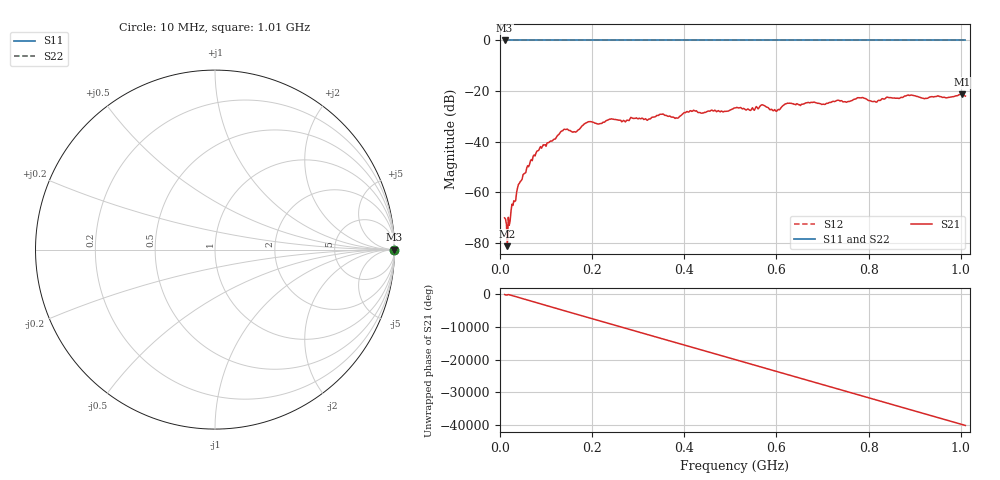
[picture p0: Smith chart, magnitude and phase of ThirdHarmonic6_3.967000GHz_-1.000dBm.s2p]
! 8/17/2025 2:06:03 PM
! C:\ANRITSUVNA\TEMP\TEMP.S2P
! CHANNEL.1
! TR.MEASUREMENT
! RAW.DATA
! RF.CORRECTION.OFF
! AVERAGING.OFF
! IF.BANDWIDTH: 5KHZ
! SWEEPTYPE:  FREQ.SWEEP(Linear)
! Reference Plane Port Info
! PORT:  PORT1  PORT2
! DISTANCE:  0  m  0  m
! TIME:  0  s  0  s
! PHASE.OFFSET:  0  deg.  0  deg.
! LOSS:  0  dB  0  dB
! REF.LOSS:  0  dB  0  dB
! REF.FREQ:  0  Hz  0  Hz
! Power Info
! POWER:  -20  dBm  -20  dBm
! EFF.POWER:  -20  dBm  -20  dBm
! SOURCE.ATTEN:  0  dB  0  dB
! TEST.ATTEN:  0  dB  0  dB
# GHZ S RI R 50.0
! FREQ.GHZ  S11RE  S11IM  S21RE  S21IM  S12RE  S12IM  S22RE  S22IM
!; PortSelection: Port_12
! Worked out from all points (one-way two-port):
!   501 points, 10 MHz to 1.01 GHz, reference 50 ohm
!   highest |S21| = -21.23 dB at 1.002 GHz (marker M1); lowest = -81.3 dB at 16 MHz (marker M2)
!   lowest |S11| = 0.0 dB at 10 MHz (marker M3)
!   |S11| at or under -10 dB: nowhere
!   |S22| runs from 0.0 to 0.0 dB; largest |S21 - S12| = 1.1
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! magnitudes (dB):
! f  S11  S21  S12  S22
! 10 MHz  0.0  -70.1  0.0  0.0
! 16 MHz  0.0  -81.3  0.0  0.0
! 20 MHz  0.0  -73.0  0.0  0.0
! 22 MHz  0.0  -71.2  0.0  0.0
! 40 MHz  0.0  -56.9  0.0  0.0
! 76 MHz  0.0  -45.6  0.0  0.0
! 136 MHz  0.0  -35.7  0.0  0.0
! 162 MHz  0.0  -36.1  0.0  0.0
! 178 MHz  0.0  -33.8  0.0  0.0
! 194 MHz  0.0  -32.1  0.0  0.0
! 322 MHz  0.0  -31.1  0.0  0.0
! 344 MHz  0.0  -29.6  0.0  0.0
! 384 MHz  0.0  -30.7  0.0  0.0
! 416 MHz  0.0  -28.0  0.0  0.0
! 510 MHz  0.0  -26.6  0.0  0.0
! 570 MHz  0.0  -25.4  0.0  0.0
! 598 MHz  0.0  -27.8  0.0  0.0
! 622 MHz  0.0  -24.9  0.0  0.0
! 678 MHz  0.0  -24.5  0.0  0.0
! 844 MHz  0.0  -22.6  0.0  0.0
! 1.002 GHz  0.0  -21.2  0.0  0.0
! 1.01 GHz  0.0  -22.0  0.0  0.0
